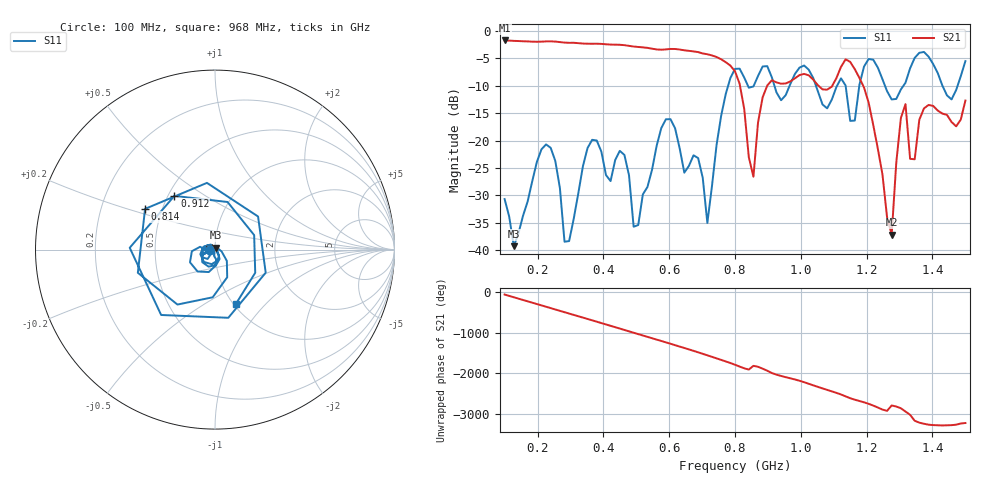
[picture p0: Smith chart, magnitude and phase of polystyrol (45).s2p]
! NanoVNA-App
! Date: 2025-09-26 09:42:14
! Start: 100MHz Stop: 1,5GHz Points: 101
! S-Parameter data: F S11 S21 S12 S22
# Hz S RI R 50
!  Frequency  S11_Real  S11_Imag  S21_Real  S21_Imag  S12_Real  S12_Imag  S22_Real  S22_Imag
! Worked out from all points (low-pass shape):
!   101 points, 100 MHz to 1.5 GHz, reference 50 ohm
!   highest |S21| = -1.79 dB at 100 MHz (marker M1); lowest = -37.1 dB at 1.276 GHz (marker M2)
!   |S21| within 3 dB of the highest: start of sweep to 743.4 MHz
!   lowest |S11| = -39.2 dB at 128 MHz (marker M3), VSWR 1.02, Z = 50.3 + j1.06 ohm
!   |S11| at or under -10 dB: start of sweep to 779.3 MHz; 1.046 GHz to 1.11 GHz (64.63 MHz wide, 6 % of centre); 1.255 GHz to 1.312 GHz (56.62 MHz wide, 4.41 % of centre)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
!   S12 and S22 are empty: the file has one direction only
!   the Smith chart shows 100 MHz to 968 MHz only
!   S11 on the Smith chart (normalised r, x): 100 MHz: 0.94, -0.01; 814 MHz: 0.40, +0.23; 912 MHz: 0.54, +0.38; 968 MHz: 1.02, -0.70
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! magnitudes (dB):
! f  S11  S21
! 100 MHz  -30.7  -1.8
! 128 MHz  -39.2  -1.9
! 212 MHz  -21.6  -2.0
! 254 MHz  -23.7  -2.0
! 282 MHz  -38.4  -2.2
! 338 MHz  -24.7  -2.4
! 464 MHz  -22.6  -2.6
! 506 MHz  -35.4  -3.0
! 576 MHz  -17.7  -3.5
! 688 MHz  -23.2  -3.9
! 716 MHz  -35.0  -4.3
! 800 MHz  -7.0  -7.4
! 814 MHz  -6.9  -9.7
! 856 MHz  -10.2  -26.6
! 912 MHz  -8.5  -9.0
! 968 MHz  -9.7  -9.2
! 1.038 GHz  -8.7  -8.9
! 1.178 GHz  -9.9  -8.6
! 1.276 GHz  -12.5  -37.1
! 1.318 GHz  -9.5  -13.4
! 1.346 GHz  -5.0  -23.4
! 1.5 GHz  -5.5  -12.7
